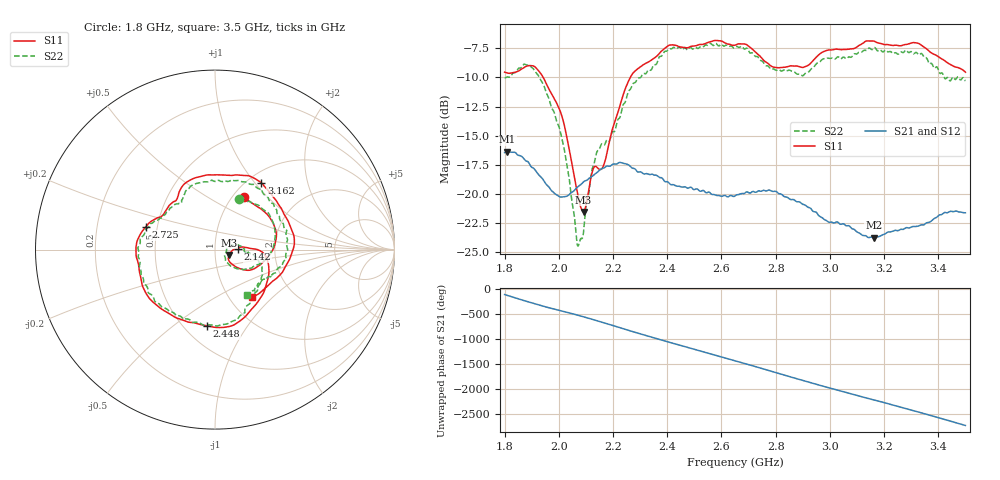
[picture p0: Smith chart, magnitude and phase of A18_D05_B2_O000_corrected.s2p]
! Created with skrf 1.9.0 (http://scikit-rf.org).
# Hz S RI R 50.0
!freq ReS11 ImS11 ReS21 ImS21 ReS12 ImS12 ReS22 ImS22
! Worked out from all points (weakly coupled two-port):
!   1601 points, 1.8 GHz to 3.5 GHz, reference 50 ohm
!   highest |S21| = -16.36 dB at 1.811 GHz (marker M1); lowest = -23.7 dB at 3.162 GHz (marker M2)
!   lowest |S11| = -21.5 dB at 2.091 GHz (marker M3), VSWR 1.18, Z = 58.4 - j3.48 ohm
!   |S11| at or under -10 dB: 1.943 GHz to 2.264 GHz (320.9 MHz wide, 15.3 % of centre)
!   |S22| runs from -24.5 to -7.1 dB; largest |S21 - S12| = 0.0028
!   S11 on the Smith chart (normalised r, x): 1.8 GHz: 1.13, +0.74; 2.142 GHz: 1.30, +0.00; 2.448 GHz: 0.64, -0.67; 2.725 GHz: 0.43, +0.13; 3.162 GHz: 1.15, +1.08; 3.5 GHz: 1.27, -0.75
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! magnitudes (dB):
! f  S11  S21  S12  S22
! 1.8 GHz  -9.5  -16.4  -16.4  -10.0
! 1.811 GHz  -9.6  -16.4  -16.4  -9.9
! 1.88 GHz  -9.0  -17.2  -17.2  -8.9
! 1.941 GHz  -9.9  -18.7  -18.7  -10.5
! 2.013 GHz  -13.4  -20.2  -20.2  -15.4
! 2.067 GHz  -19.7  -19.4  -19.4  -24.1
! 2.084 GHz  -21.3  -19.1  -19.1  -23.8
! 2.091 GHz  -21.5  -18.9  -19.0  -23.3
! 2.125 GHz  -18.0  -18.4  -18.4  -17.7
! 2.142 GHz  -17.7  -18.1  -18.1  -16.3
! 2.167 GHz  -17.4  -17.8  -17.7  -15.8
! 2.263 GHz  -10.0  -17.6  -17.6  -11.0
! 2.367 GHz  -8.0  -18.5  -18.5  -8.4
! 2.448 GHz  -7.4  -19.4  -19.4  -7.4
! 2.65 GHz  -7.2  -20.1  -20.1  -7.4
! 2.725 GHz  -7.8  -19.8  -19.8  -8.2
! 2.798 GHz  -9.1  -19.8  -19.7  -9.3
! 2.934 GHz  -8.7  -21.4  -21.3  -9.2
! 3.162 GHz  -6.9  -23.7  -23.7  -7.5
! 3.217 GHz  -7.2  -23.2  -23.2  -7.8
! 3.325 GHz  -7.1  -22.7  -22.7  -8.0
! 3.5 GHz  -9.6  -21.6  -21.6  -10.3
